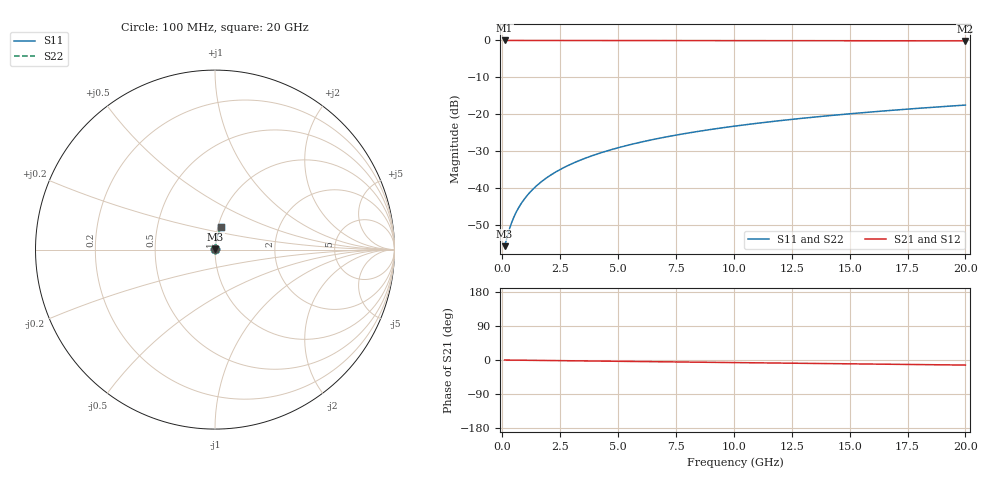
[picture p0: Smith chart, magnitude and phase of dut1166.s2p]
! Touchstone file exported from HFSS 2026.1.0
!  File:  C:/ffzhzh/LocalFiles/Ansys_Project_Files/temp_train_BSMRDL_1166_1783175888_43440.aedt
!  Generated:  10:39:20 PM Jul  4, 2026
!  Design:  BSMRDL
!  Project:  temp_train_BSMRDL_1166_1783175888_43440
! Variables:
!  h_bsmrdl = 3.63um
!  h_ox = 20um
!  h_rdl = 5um
!  h_sub = 80um
!  h_tmrdl = 5um
!  h_tsv = 80um
!  h_via = 3um
!  l_bsmrdl = 176.23um
!  l_sub = 576.23um
!  l_tmrdl = 200um
!  m_sub = 200um
!  pitch = 31.17um
!  r_tsv = 6um
!  s_tmrdl = 10um
!  w_bsmrdl = 13.8um
!  w_sub = 500um
!  w_tmrdl = 12um
!  x_tsv_center1 = 206um
!  x_tsv_center2 = 396.03um
!  x_tsv_center3 = 608.03um
!  x_tsv_center4 = 798.06um
!  x_tsv_center5 = 1010.06um
!  x_tsv_center6 = 1200.09um
# GHz S MA R 50.000000
! Terminal data exported
! Port[1] = BSM_RDL1_1_T1
! Port[2] = BSM_RDL1_1_T2
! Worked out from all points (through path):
!   200 points, 100 MHz to 20 GHz, reference 50 ohm
!   highest |S21| = -0.01 dB at 100 MHz (marker M1); lowest = -0.1 dB at 20 GHz (marker M2)
!   group delay of S21, straight-line fit = 1.86 ps
!   lowest |S11| = -55.9 dB at 100 MHz (marker M3), VSWR 1.00, Z = 50.1 + j0.0764 ohm
!   |S11| at or under -10 dB: start of sweep to end of sweep
!   |S22| runs from -55.9 to -17.6 dB; largest |S21 - S12| = 3.3e-15
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0.1  0.001606 28.3  0.9986 -0.1  0.9986 -0.1  0.001606 28.3
! Gamma 0 0 0 0
! Port Impedance 50 0 50 0
0.3  0.002693 56.2  0.9985 -0.2  0.9985 -0.2  0.002693 56.2
0.4  0.003331 62.4  0.9985 -0.3  0.9985 -0.3  0.003331 62.4
0.5  0.003984 66.5  0.9984 -0.4  0.9984 -0.4  0.003984 66.5
0.6  0.004645 69.5  0.9984 -0.4  0.9984 -0.4  0.004645 69.5
0.8  0.005981 73.5  0.9983 -0.6  0.9983 -0.6  0.005981 73.5
1  0.007333 76.1  0.9983 -0.7  0.9983 -0.7  0.007333 76.1
1.2  0.008696 77.8  0.9983 -0.8  0.9983 -0.8  0.008696 77.8
1.4  0.01007 79.1  0.9982 -1.0  0.9982 -1.0  0.01007 79.1
1.7  0.01213 80.4  0.9981 -1.2  0.9981 -1.2  0.01213 80.4
2.2  0.01559 81.7  0.998 -1.5  0.998 -1.5  0.01559 81.7
2.8  0.01974 82.4  0.9979 -1.9  0.9979 -1.9  0.01974 82.4
3.5  0.02457 82.7  0.9976 -2.4  0.9976 -2.4  0.02457 82.7
4.2  0.02939 82.8  0.9973 -2.9  0.9973 -2.9  0.02939 82.8
5  0.03486 82.6  0.997 -3.4  0.997 -3.4  0.03486 82.6
5.9  0.04098 82.3  0.9965 -4.0  0.9965 -4.0  0.04098 82.3
6.8  0.04705 81.9  0.996 -4.7  0.996 -4.7  0.04705 81.9
8.3  0.05709 81.1  0.9952 -5.7  0.9952 -5.7  0.05709 81.1
10.1  0.06899 80.1  0.994 -6.9  0.994 -6.9  0.06899 80.1
13.4  0.09049 78.2  0.9916 -9.1  0.9916 -9.1  0.09049 78.2
16.7  0.1116 76.3  0.9888 -11.2  0.9888 -11.2  0.1116 76.3
20  0.1324 74.3  0.9858 -13.4  0.9858 -13.4  0.1324 74.3
